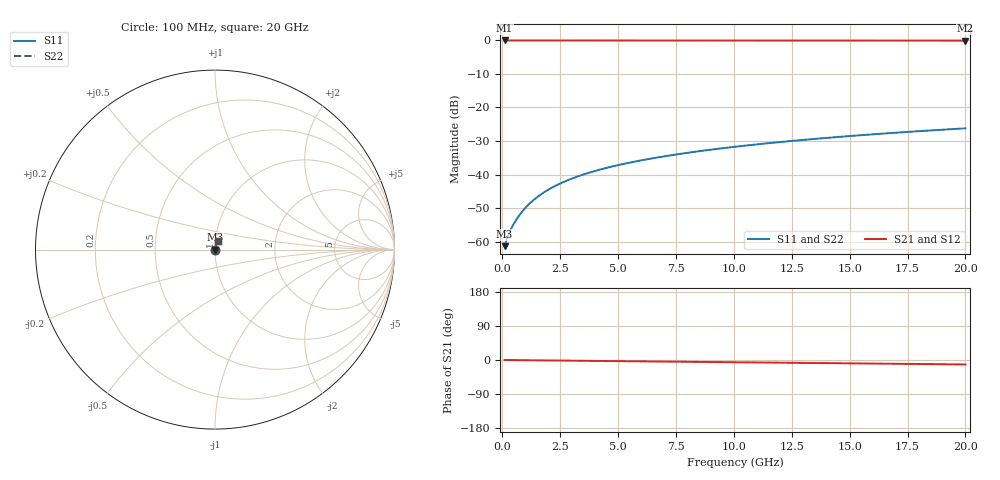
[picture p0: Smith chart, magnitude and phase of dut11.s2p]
! Touchstone file exported from HFSS 2026.1.0
!  File:  C:/ffzhzh/LocalFiles/Ansys_Project_Files/temp_train_BSMRDL_11_1782881858_8056.aedt
!  Generated:  12:58:51 PM Jul  1, 2026
!  Design:  BSMRDL
!  Project:  temp_train_BSMRDL_11_1782881858_8056
! Variables:
!  h_bsmrdl = 5.65um
!  h_ox = 20um
!  h_rdl = 5um
!  h_sub = 80um
!  h_tmrdl = 5um
!  h_tsv = 80um
!  h_via = 3um
!  l_bsmrdl = 190.89um
!  l_sub = 590.89um
!  l_tmrdl = 200um
!  m_sub = 200um
!  pitch = 28.92um
!  r_tsv = 6um
!  s_tmrdl = 10um
!  w_bsmrdl = 19.88um
!  w_sub = 500um
!  w_tmrdl = 12um
!  x_tsv_center1 = 206um
!  x_tsv_center2 = 416.77um
!  x_tsv_center3 = 628.77um
!  x_tsv_center4 = 839.54um
!  x_tsv_center5 = 1051.54um
!  x_tsv_center6 = 1262.31um
# GHz S MA R 50.000000
! Terminal data exported
! Port[1] = BSM_RDL1_1_T1
! Port[2] = BSM_RDL1_1_T2
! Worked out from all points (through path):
!   200 points, 100 MHz to 20 GHz, reference 50 ohm
!   highest |S21| = -0.01 dB at 100 MHz (marker M1); lowest = -0.1 dB at 20 GHz (marker M2)
!   group delay of S21, straight-line fit = 1.62 ps
!   lowest |S11| = -61.4 dB at 100 MHz (marker M3), VSWR 1.00, Z = 50.1 + j0.0398 ohm
!   |S11| at or under -10 dB: start of sweep to end of sweep
!   |S22| runs from -61.4 to -26.2 dB; largest |S21 - S12| = 7.1e-15
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0.1  0.0008548 27.7  0.9992 -0.1  0.9992 -0.1  0.0008548 27.7
! Gamma 0 0 0 0
! Port Impedance 50 0 50 0
0.2  0.001108 41.0  0.9992 -0.1  0.9992 -0.1  0.001108 41.0
0.3  0.001357 48.6  0.9991 -0.2  0.9991 -0.2  0.001357 48.6
0.4  0.001603 54.1  0.9991 -0.3  0.9991 -0.3  0.001603 54.1
0.5  0.001853 58.4  0.999 -0.3  0.999 -0.3  0.001853 58.4
0.6  0.002111 61.8  0.999 -0.4  0.999 -0.4  0.00211 61.8
0.8  0.002643 66.7  0.999 -0.5  0.999 -0.5  0.002643 66.7
1  0.003192 69.8  0.9989 -0.6  0.9989 -0.6  0.003192 69.9
1.2  0.003748 72.0  0.9989 -0.7  0.9989 -0.7  0.003748 72.0
1.4  0.004308 73.5  0.9988 -0.9  0.9988 -0.9  0.004308 73.5
1.7  0.005147 75.0  0.9987 -1.0  0.9987 -1.0  0.005147 75.0
2.2  0.006533 76.3  0.9986 -1.3  0.9986 -1.3  0.006533 76.3
2.8  0.008163 77.0  0.9984 -1.7  0.9984 -1.7  0.008163 77.0
3.5  0.01001 77.3  0.9981 -2.1  0.9981 -2.1  0.01001 77.3
4.2  0.01181 77.4  0.9979 -2.5  0.9979 -2.5  0.01181 77.4
5  0.01382 77.4  0.9976 -3.0  0.9976 -3.0  0.01382 77.4
6.8  0.01823 77.1  0.997 -4.1  0.997 -4.1  0.01823 77.1
8.3  0.02182 76.8  0.9966 -4.9  0.9966 -4.9  0.02182 76.8
10.1  0.02609 76.3  0.9962 -6.0  0.9962 -6.0  0.02608 76.3
13.4  0.0338 75.2  0.9954 -7.9  0.9954 -7.9  0.0338 75.2
16.7  0.0414 73.9  0.9946 -9.8  0.9946 -9.8  0.0414 73.9
20  0.04889 72.4  0.9938 -11.7  0.9938 -11.7  0.04889 72.4
